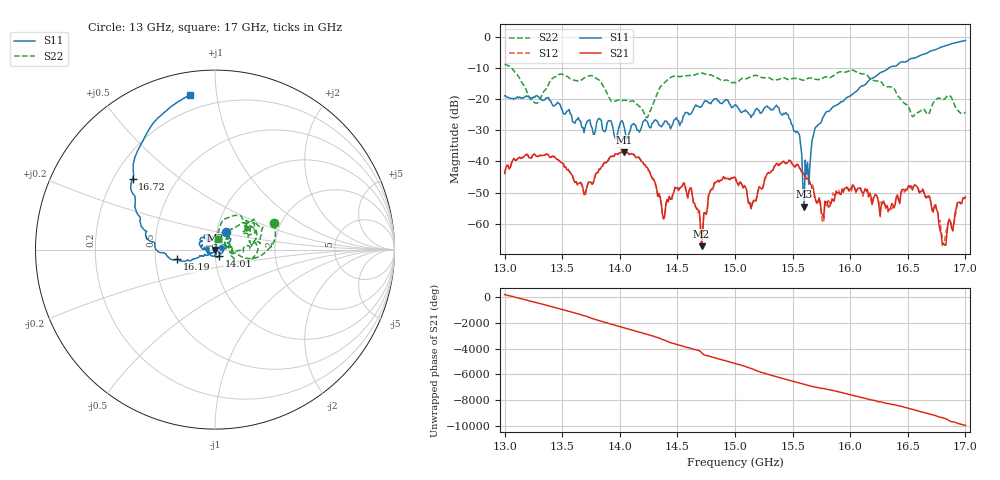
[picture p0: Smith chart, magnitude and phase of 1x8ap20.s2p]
!Keysight Technologies,P9374A,MY57211807,A.19.30.04
!Date: Friday, May 08, 2026 14:34:03
!Correction: S11(C  2-Port  )
!S21(C  2-Port  )
!S12(C  2-Port  )
!S22(C  2-Port  )
!S2P File: Measurements: S11, S21, S12, S22:
# Hz S  dB  R 50
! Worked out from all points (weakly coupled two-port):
!   401 points, 13 GHz to 17 GHz, reference 50 ohm
!   highest |S21| = -37.02 dB at 14.04 GHz (marker M1); lowest = -67.2 dB at 14.71 GHz (marker M2)
!   lowest |S11| = -54.4 dB at 15.6 GHz (marker M3), VSWR 1.00, Z = 49.9 - j0.164 ohm
!   |S11| at or under -10 dB: start of sweep to 16.34 GHz
!   |S22| runs from -25.9 to -8.9 dB; largest |S21 - S12| = 0.00077
!   S11 on the Smith chart (normalised r, x): 13 GHz: 1.10, +0.22; 14.01 GHz: 1.04, -0.08; 16.19 GHz: 0.65, -0.07; 16.72 GHz: 0.28, +0.35; 17 GHz: 0.12, +0.84
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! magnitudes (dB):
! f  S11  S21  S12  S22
! 13 GHz  -18.9  -43.9  -43.9  -8.9
! 13.27 GHz  -19.0  -38.2  -38.2  -21.2
! 13.67 GHz  -29.0  -47.3  -47.6  -13.8
! 14.01 GHz  -27.1  -37.1  -37.1  -20.5
! 14.04 GHz  -29.3  -37.0  -37.2  -20.3
! 14.24 GHz  -27.2  -42.0  -42.1  -25.9
! 14.34 GHz  -28.3  -50.3  -50.7  -16.9
! 14.55 GHz  -25.5  -47.3  -46.9  -12.5
! 14.71 GHz  -22.4  -67.2  -67.1  -11.6
! 14.83 GHz  -19.9  -46.7  -46.9  -12.9
! 15 GHz  -21.8  -45.1  -45.0  -14.7
! 15.14 GHz  -25.9  -54.9  -55.2  -12.9
! 15.46 GHz  -25.0  -40.2  -39.8  -13.7
! 15.6 GHz  -54.4  -44.2  -43.9  -13.9
! 15.67 GHz  -33.1  -48.8  -47.4  -13.3
! 15.77 GHz  -25.5  -58.1  -59.1  -13.1
! 16.19 GHz  -13.3  -53.8  -53.8  -13.9
! 16.34 GHz  -9.9  -55.6  -55.1  -16.0
! 16.55 GHz  -6.9  -48.0  -47.9  -25.6
! 16.72 GHz  -4.4  -56.3  -55.3  -21.3
! 16.82 GHz  -3.0  -66.9  -65.3  -20.0
! 17 GHz  -1.2  -51.4  -51.3  -24.2
